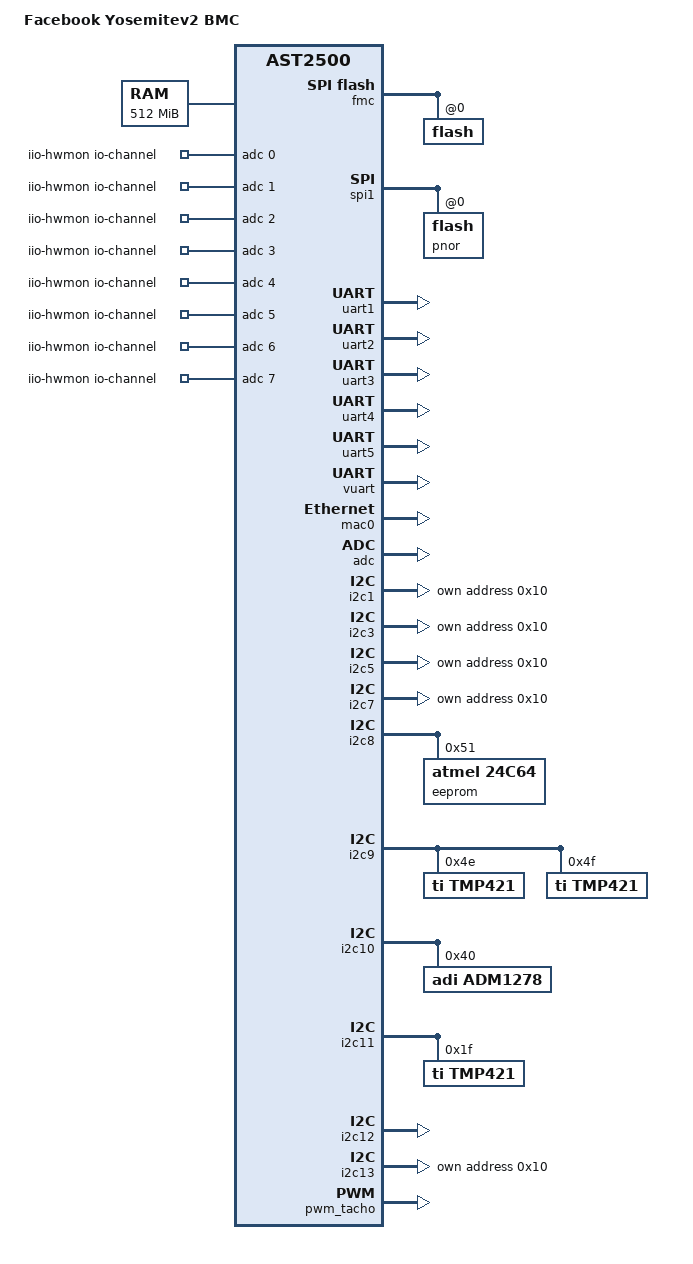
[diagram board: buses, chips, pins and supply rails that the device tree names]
// SPDX-License-Identifier: GPL-2.0-or-later
// Copyright (c) 2018 Facebook Inc.
/dts-v1/;
#include "aspeed-g5.dtsi"
#include <dt-bindings/i2c/i2c.h>

/ {
	model = "Facebook Yosemitev2 BMC";
	compatible = "facebook,yosemitev2-bmc", "aspeed,ast2500";
	aliases {
		serial4 = &uart5;
	};
	chosen {
		stdout-path = &uart5;
	};

	memory@80000000 {
		reg = <0x80000000 0x20000000>;
	};

	iio-hwmon {
		// VOLATAGE SENSOR
		compatible = "iio-hwmon";
		io-channels = <&adc 0> , <&adc 1> , <&adc 2> ,  <&adc 3> ,
		<&adc 4> , <&adc 5> , <&adc 6> ,  <&adc 7> ,
		<&adc 8> , <&adc 9> , <&adc 10>, <&adc 11> ,
		<&adc 12> , <&adc 13> , <&adc 14> , <&adc 15> ;
	};
};

&fmc {
	status = "okay";
	flash@0 {
		status = "okay";
		m25p,fast-read;
#include "openbmc-flash-layout.dtsi"
	};
};

&spi1 {
	status = "okay";
	pinctrl-names = "default";
	pinctrl-0 = <&pinctrl_spi1_default>;
	flash@0 {
		status = "okay";
		m25p,fast-read;
		label = "pnor";
	};
};
&uart1 {
	// Host1 Console
	status = "okay";
	pinctrl-names = "default";
	pinctrl-0 = <&pinctrl_txd1_default
		     &pinctrl_rxd1_default>;
};

&uart2 {
	// Host2 Console
	status = "okay";
	pinctrl-names = "default";
	pinctrl-0 = <&pinctrl_txd2_default
		     &pinctrl_rxd2_default>;

};

&uart3 {
	// Host3 Console
	status = "okay";
	pinctrl-names = "default";
	pinctrl-0 = <&pinctrl_txd3_default
		     &pinctrl_rxd3_default>;
};

&uart4 {
	// Host4 Console
	status = "okay";
	pinctrl-names = "default";
	pinctrl-0 = <&pinctrl_txd4_default
		     &pinctrl_rxd4_default>;
};

&uart5 {
	// BMC Console
	status = "okay";
};

&vuart {
	// Virtual UART
	status = "okay";
};

&mac0 {
	status = "okay";
	pinctrl-names = "default";
	pinctrl-0 = <&pinctrl_rmii1_default>;
	use-ncsi;
	mlx,multi-host;
};

&adc {
	status = "okay";
	pinctrl-names = "default";
	pinctrl-0 = <&pinctrl_adc0_default
			&pinctrl_adc1_default
			&pinctrl_adc2_default
			&pinctrl_adc3_default
			&pinctrl_adc4_default
			&pinctrl_adc5_default
			&pinctrl_adc6_default
			&pinctrl_adc7_default
			&pinctrl_adc8_default
			&pinctrl_adc9_default
			&pinctrl_adc10_default
			&pinctrl_adc11_default
			&pinctrl_adc12_default
			&pinctrl_adc13_default
			&pinctrl_adc14_default
			&pinctrl_adc15_default>;
};

&i2c1 {
	//Host1 IPMB bus
	status = "okay";
	multi-master;
	ipmb1@10 {
		compatible = "ipmb-dev";
		reg = <(0x10 | I2C_OWN_SLAVE_ADDRESS)>;
		i2c-protocol;
	};
};

&i2c3 {
	//Host2 IPMB bus
	status = "okay";
	multi-master;
	ipmb3@10 {
		compatible = "ipmb-dev";
		reg = <(0x10 | I2C_OWN_SLAVE_ADDRESS)>;
		i2c-protocol;
	};
};

&i2c5 {
	//Host3 IPMB bus
	status = "okay";
	multi-master;
	ipmb5@10 {
		compatible = "ipmb-dev";
		reg = <(0x10 | I2C_OWN_SLAVE_ADDRESS)>;
		i2c-protocol;
	};
};

&i2c7 {
	//Host4 IPMB bus
	status = "okay";
	multi-master;
	ipmb7@10 {
		compatible = "ipmb-dev";
		reg = <(0x10 | I2C_OWN_SLAVE_ADDRESS)>;
		i2c-protocol;
	};
};

&i2c8 {
	status = "okay";
	//FRU EEPROM
	eeprom@51 {
		compatible = "atmel,24c64";
		reg = <0x51>;
		pagesize = <32>;
	};
};

&i2c9 {
	status = "okay";
	tmp421@4e {
	//INLET TEMP
		compatible = "ti,tmp421";
		reg = <0x4e>;
	};
	//OUTLET TEMP
	tmp421@4f {
		compatible = "ti,tmp421";
		reg = <0x4f>;
	};
};

&i2c10 {
	status = "okay";
	//HSC
	adm1278@40 {
		compatible = "adi,adm1278";
		reg = <0x40>;
	};
};

&i2c11 {
	status = "okay";
	//MEZZ_TEMP_SENSOR
	tmp421@1f {
		compatible = "ti,tmp421";
		reg = <0x1f>;
	};
};

&i2c12 {
	status = "okay";
};

&i2c13 {
	status = "okay";
	// Debug Card
	multi-master;
	ipmb13@10 {
		compatible = "ipmb-dev";
		reg = <(0x10 | I2C_OWN_SLAVE_ADDRESS)>;
		i2c-protocol;
	};
};

&i2c13 {
	status = "okay";
	// Debug Card
	multi-master;
	ipmb13@10 {
		compatible = "ipmb-dev";
		reg = <(0x10 | I2C_OWN_SLAVE_ADDRESS)>;
		i2c-protocol;
	};
};

&pwm_tacho {
	status = "okay";
	//FSC
	pinctrl-names = "default";
	pinctrl-0 = <&pinctrl_pwm0_default &pinctrl_pwm1_default>;
	fan@0 {
		reg = <0x00>;
		aspeed,fan-tach-ch = /bits/ 8 <0x00>;
	};
	fan@1 {
		reg = <0x01>;
		aspeed,fan-tach-ch = /bits/ 8 <0x01>;
	};
};
